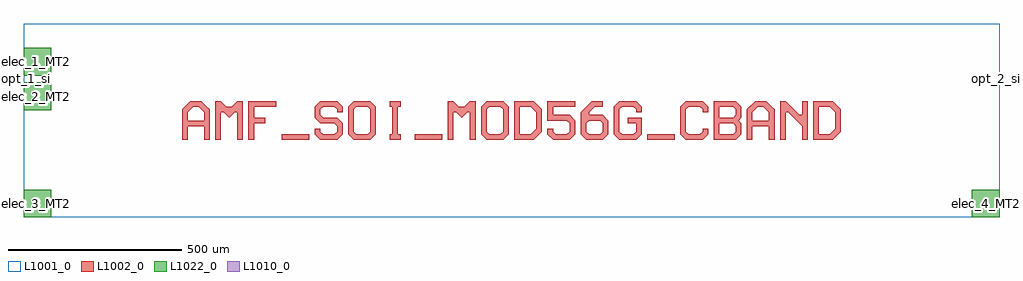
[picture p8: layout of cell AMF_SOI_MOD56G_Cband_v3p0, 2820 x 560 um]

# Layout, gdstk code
import gdstk
lib = gdstk.Library(unit=1e-6, precision=1e-09)
def R(c, l, rs):  # rectangles x0, y0, x1, y1
    for r in rs: c.add(gdstk.rectangle(r[:2], r[2:], *l))
def P(c, l, *ps):  # polygons
    for p in ps: c.add(gdstk.Polygon(p, *l))
L1001_0 = (1001, 0)
L1002_0 = (1002, 0)
L1010_0 = (1010, 0)
L1022_0 = (1022, 0)

amf_soi_mod56g_cband_v3p = lib.new_cell('AMF_SOI_MOD56G_Cband_v3p0')
R(amf_soi_mod56g_cband_v3p, L1001_0, [(0,-400,2820,160)])
R(amf_soi_mod56g_cband_v3p, L1002_0, [(746,-176,826,-160), (1130,-176,1210,-160), (1802,-176,1882,-160)])
P(amf_soi_mod56g_cband_v3p, L1002_0, [(458,-176),(458,-88),(482,-64),(514,-64),(530,-80),(490,-80),(474,-96),(474,-120),(522,-120),(522,-96),(506,-80),(530,-80),(538,-88),(538,-176),(522,-176),(522,-136),(474,-136),(474,-176)],
  [(554,-176),(554,-64),(570,-64),(586,-80),(602,-80),(618,-64),(634,-64),(634,-176),(618,-176),(618,-96),(610,-96),(594,-112),(578,-96),(570,-96),(570,-176)],
  [(650,-176),(650,-64),(730,-64),(730,-80),(666,-80),(666,-112),(698,-112),(698,-128),(666,-128),(666,-176)],
  [(858,-176),(842,-160),(842,-144),(858,-144),(858,-152),(866,-160),(898,-160),(906,-152),(906,-136),(898,-128),(858,-128),(842,-112),(842,-80),(858,-64),(906,-64),(922,-80),(922,-96),(906,-96),(906,-88),(898,-80),(866,-80),(858,-88),(858,-104),(866,-112),(906,-112),(922,-128),(922,-160),(906,-176)],
  [(954,-176),(938,-160),(938,-80),(954,-64),(1002,-64),(1018,-80),(1018,-120),(1002,-120),(1002,-88),(994,-80),(962,-80),(954,-88),(954,-152),(962,-160),(994,-160),(1002,-152),(1002,-120),(1018,-120),(1018,-160),(1002,-176)],
  [(1058,-176),(1058,-160),(1066,-160),(1066,-80),(1058,-80),(1058,-64),(1090,-64),(1090,-80),(1082,-80),(1082,-160),(1090,-160),(1090,-176)],
  [(1226,-176),(1226,-64),(1242,-64),(1258,-80),(1274,-80),(1290,-64),(1306,-64),(1306,-176),(1290,-176),(1290,-96),(1282,-96),(1266,-112),(1250,-96),(1242,-96),(1242,-176)],
  [(1338,-176),(1322,-160),(1322,-80),(1338,-64),(1386,-64),(1402,-80),(1402,-120),(1386,-120),(1386,-88),(1378,-80),(1346,-80),(1338,-88),(1338,-152),(1346,-160),(1378,-160),(1386,-152),(1386,-120),(1402,-120),(1402,-160),(1386,-176)],
  [(1418,-176),(1418,-64),(1474,-64),(1490,-80),(1434,-80),(1434,-160),(1466,-160),(1482,-144),(1482,-96),(1466,-80),(1490,-80),(1498,-88),(1498,-152),(1474,-176)],
  [(1530,-176),(1514,-160),(1514,-144),(1530,-144),(1530,-152),(1538,-160),(1570,-160),(1578,-152),(1578,-128),(1570,-120),(1514,-120),(1514,-64),(1594,-64),(1594,-80),(1530,-80),(1530,-104),(1578,-104),(1594,-120),(1594,-160),(1578,-176)],
  [(1626,-176),(1610,-160),(1610,-96),(1642,-64),(1674,-64),(1674,-80),(1650,-80),(1634,-96),(1634,-104),(1674,-104),(1690,-120),(1634,-120),(1626,-128),(1626,-152),(1634,-160),(1666,-160),(1674,-152),(1674,-128),(1666,-120),(1690,-120),(1690,-160),(1674,-176)],
  [(1722,-176),(1706,-160),(1706,-80),(1722,-64),(1770,-64),(1786,-80),(1786,-96),(1770,-96),(1770,-88),(1762,-80),(1730,-80),(1722,-88),(1722,-152),(1730,-160),(1762,-160),(1770,-152),(1770,-128),(1746,-128),(1746,-112),(1786,-112),(1786,-160),(1770,-176)],
  [(1914,-176),(1898,-160),(1898,-80),(1914,-64),(1962,-64),(1978,-80),(1978,-96),(1962,-96),(1962,-88),(1954,-80),(1922,-80),(1914,-88),(1914,-152),(1922,-160),(1954,-160),(1962,-152),(1962,-144),(1978,-144),(1978,-160),(1962,-176)],
  [(1994,-176),(1994,-64),(2058,-64),(2074,-80),(2010,-80),(2010,-112),(2050,-112),(2058,-104),(2058,-88),(2050,-80),(2074,-80),(2074,-112),(2066,-120),(2074,-128),(2010,-128),(2010,-160),(2050,-160),(2058,-152),(2058,-136),(2050,-128),(2074,-128),(2074,-160),(2058,-176)],
  [(2090,-176),(2090,-88),(2114,-64),(2146,-64),(2162,-80),(2122,-80),(2106,-96),(2106,-120),(2154,-120),(2154,-96),(2138,-80),(2162,-80),(2170,-88),(2170,-176),(2154,-176),(2154,-136),(2106,-136),(2106,-176)],
  [(2186,-176),(2186,-64),(2202,-64),(2242,-104),(2250,-104),(2250,-64),(2266,-64),(2266,-176),(2250,-176),(2250,-136),(2210,-96),(2202,-96),(2202,-176)],
  [(2282,-176),(2282,-64),(2338,-64),(2354,-80),(2298,-80),(2298,-160),(2330,-160),(2346,-144),(2346,-96),(2330,-80),(2354,-80),(2362,-88),(2362,-152),(2338,-176)])
R(amf_soi_mod56g_cband_v3p, L1010_0, [(0,-0.25,0.5,0.25), (2819.5,-0.25,2820,0.25)])
R(amf_soi_mod56g_cband_v3p, L1022_0, [(0,-400,80,-320), (2740,-400,2820,-320), (0,-90,80,-10), (0,10,80,90)])
amf_soi_mod56g_cband_v3p.add(gdstk.Label('opt_1_si', (0,0), layer=1010, texttype=0))
amf_soi_mod56g_cband_v3p.add(gdstk.Label('opt_2_si', (2820,0), layer=1010, texttype=0))
amf_soi_mod56g_cband_v3p.add(gdstk.Label('elec_1_MT2', (0,50), layer=1022, texttype=0))
amf_soi_mod56g_cband_v3p.add(gdstk.Label('elec_2_MT2', (0,-50), layer=1022, texttype=0))
amf_soi_mod56g_cband_v3p.add(gdstk.Label('elec_4_MT2', (2820,-360), layer=1022, texttype=0))
amf_soi_mod56g_cband_v3p.add(gdstk.Label('elec_3_MT2', (0,-360), layer=1022, texttype=0))

lib.write_gds('AMF_SOI_MOD56G_Cband_v3p0.gds')
